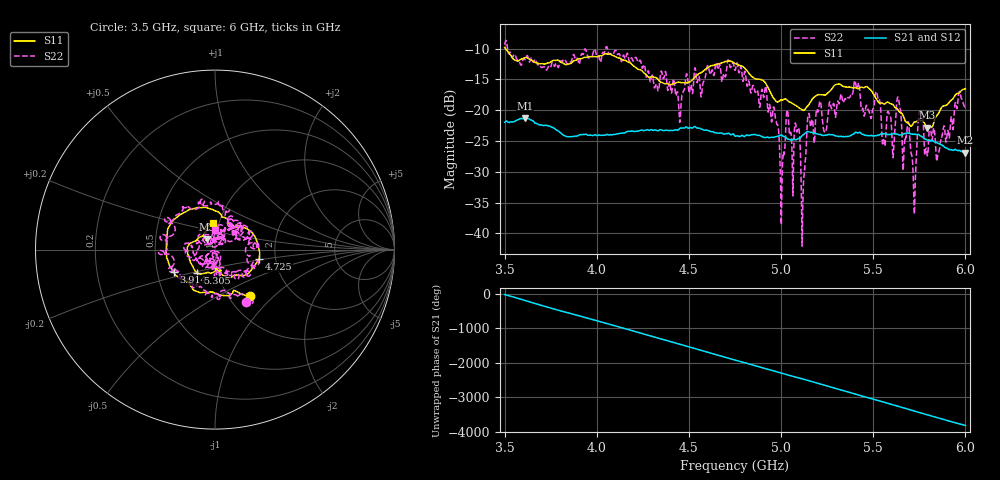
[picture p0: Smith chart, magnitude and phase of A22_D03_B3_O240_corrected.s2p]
! Created with skrf 1.9.0 (http://scikit-rf.org).
# Hz S RI R 50.0
!freq ReS11 ImS11 ReS21 ImS21 ReS12 ImS12 ReS22 ImS22
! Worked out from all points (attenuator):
!   1601 points, 3.5 GHz to 6 GHz, reference 50 ohm
!   highest |S21| = -21.31 dB at 3.611 GHz (marker M1); lowest = -26.9 dB at 5.997 GHz (marker M2)
!   lowest |S11| = -22.8 dB at 5.791 GHz (marker M3), VSWR 1.16, Z = 45.5 + j5.28 ohm
!   |S11| at or under -10 dB: 3.505 GHz to end of sweep
!   |S22| runs from -42.1 to -8.7 dB; largest |S21 - S12| = 0.001
!   S11 on the Smith chart (normalised r, x): 3.5 GHz: 1.25, -0.72; 3.914 GHz: 0.61, -0.16; 4.725 GHz: 1.64, -0.18; 5.305 GHz: 0.80, -0.21; 6 GHz: 0.94, +0.29
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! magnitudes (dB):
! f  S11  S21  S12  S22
! 3.5 GHz  -9.8  -22.0  -22.0  -9.4
! 3.611 GHz  -11.5  -21.3  -21.3  -11.8
! 3.914 GHz  -11.6  -24.0  -23.9  -11.2
! 3.917 GHz  -11.6  -24.0  -24.0  -10.9
! 4.334 GHz  -15.1  -23.3  -23.3  -16.9
! 4.725 GHz  -12.0  -24.0  -23.9  -13.1
! 4.75 GHz  -12.4  -24.2  -24.1  -13.5
! 4.967 GHz  -18.3  -24.3  -24.3  -20.7
! 5.005 GHz  -18.3  -24.1  -24.1  -32.1
! 5.033 GHz  -18.3  -24.6  -24.6  -20.0
! 5.086 GHz  -19.3  -24.8  -24.7  -23.6
! 5.12 GHz  -20.0  -24.0  -23.9  -32.7
! 5.145 GHz  -19.3  -23.5  -23.5  -21.0
! 5.167 GHz  -18.3  -23.6  -23.6  -21.6
! 5.305 GHz  -15.8  -24.2  -24.2  -18.7
! 5.584 GHz  -18.8  -23.9  -23.9  -20.4
! 5.639 GHz  -20.1  -24.0  -24.0  -18.5
! 5.72 GHz  -22.0  -23.9  -23.9  -34.3
! 5.755 GHz  -21.6  -24.2  -24.1  -20.6
! 5.791 GHz  -22.8  -24.8  -24.7  -26.7
! 5.997 GHz  -16.6  -26.9  -26.8  -19.5
! 6 GHz  -16.5  -26.9  -26.8  -19.4
